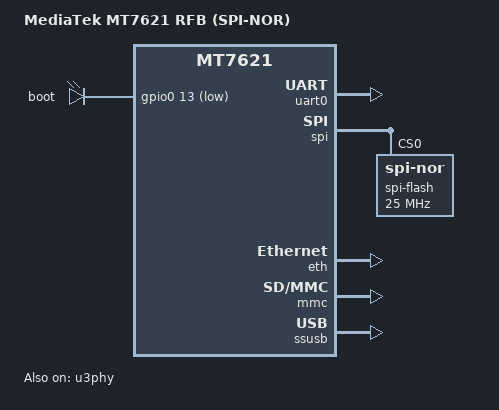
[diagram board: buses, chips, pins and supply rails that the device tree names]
// SPDX-License-Identifier: GPL-2.0
/*
 * Copyright (C) 2022 MediaTek Inc. All rights reserved.
 *
 * Author: Weijie Gao <weijie.gao@mediatek.com>
 */

/dts-v1/;

#include "mt7621.dtsi"

/ {
	compatible = "mediatek,mt7621-rfb", "mediatek,mt7621-soc";
	model = "MediaTek MT7621 RFB (SPI-NOR)";

	aliases {
		serial0 = &uart0;
		spi0 = &spi;
	};

	chosen {
		stdout-path = &uart0;
	};

	leds { /* BOOT LED*/
		compatible = "gpio-leds";

		boot_led: led-boot {
			label = "boot";
			gpios = <&gpio0 13 1>; /* JTDO 1 = 低电平有效 */
		};
	};

	options {
		u-boot {
			compatible = "u-boot,config";
			boot-led = <&boot_led>;
			boot-led-period-ms = <250>;   /* 闪烁周期,可选 */
		};
	};
};

&pinctrl {
	state_default: pin_state {
		gpios {
			groups = "i2c", "uart3", "pcie reset";
			function = "gpio";
		};

		wdt {
			groups = "wdt";
			function = "wdt rst";
		};

		jtag {
			groups = "jtag";
			function = "gpio"; /* GPIO 模式 */
		};
	};
};

&uart0 {
	status = "okay";
};

&gpio {
	status = "okay";
};

&spi {
	status = "okay";
	num-cs = <2>;

	spi-flash@0 {
		#address-cells = <1>;
		#size-cells = <1>;
		compatible = "jedec,spi-nor";
		spi-max-frequency = <25000000>;
		reg = <0>;
	};
};

&eth {
	status = "okay";
};

&mmc {
	cap-sd-highspeed;

	status = "okay";
};

&ssusb {
	status = "okay";
};

&u3phy {
	status = "okay";
};
